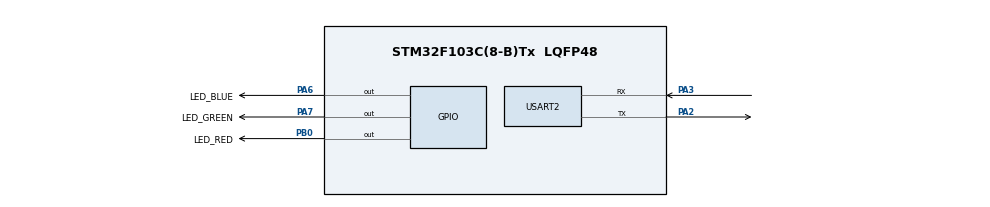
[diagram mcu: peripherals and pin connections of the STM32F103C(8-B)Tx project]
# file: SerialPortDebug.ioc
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Mcu.Family=STM32F1
Mcu.Name=STM32F103C(8-B)Tx
Mcu.Package=LQFP48
NVIC.PriorityGroup=NVIC_PRIORITYGROUP_4
PA13.Mode=Serial_Wire
PA13.Signal=SYS_JTMS-SWDIO
PA14.Mode=Serial_Wire
PA14.Signal=SYS_JTCK-SWCLK
PA2.Mode=Asynchronous
PA2.Signal=USART2_TX
PA3.Mode=Asynchronous
PA3.Signal=USART2_RX
PA6.GPIO_Label=LED_BLUE
PA6.Signal=GPIO_Output
PA7.GPIO_Label=LED_GREEN
PA7.Signal=GPIO_Output
PB0.GPIO_Label=LED_RED
PB0.Signal=GPIO_Output
ProjectManager.HeapSize=0x200
ProjectManager.StackSize=0x400
ProjectManager.TargetToolchain=STM32CubeIDE
RCC.APB1Freq_Value=8000000
RCC.APB2Freq_Value=8000000
USART2.VirtualMode=VM_ASYNC
board=custom

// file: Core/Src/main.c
/* USER CODE BEGIN Header */
/**
  ******************************************************************************
  * @file           : main.c
  * @brief          : Main program body
  ******************************************************************************
  * @attention
  *
  * Copyright (c) 2025 STMicroelectronics.
  * All rights reserved.
  *
  * This software is licensed under terms that can be found in the LICENSE file
  * in the root directory of this software component.
  * If no LICENSE file comes with this software, it is provided AS-IS.
  *
  ******************************************************************************
  */
/* USER CODE END Header */
#include "main.h"

/* USER CODE BEGIN Includes */
#include "string.h"
#include "ctype.h"
/* USER CODE END Includes */

UART_HandleTypeDef huart2;

void SystemClock_Config(void);
static void MX_GPIO_Init(void);
static void MX_USART2_UART_Init(void);

int main(void)
{

  /* MCU Configuration--------------------------------------------------------*/

  /* Reset of all peripherals, Initializes the Flash interface and the Systick. */
  HAL_Init();

  /* Configure the system clock */
  SystemClock_Config();

  /* Initialize all configured peripherals */
  MX_GPIO_Init();
  MX_USART2_UART_Init();
  /* USER CODE BEGIN 2 */
  char message[60] = "Hello World!";
  uint8_t receiveData[2];
  /* USER CODE END 2 */

  /* Infinite loop */
  /* USER CODE BEGIN WHILE */
  while (1)
  {
//	  HAL_GPIO_WritePin(LED_BLUE_GPIO_Port, LED_BLUE_Pin, GPIO_PIN_SET);
	  HAL_UART_Receive(&huart2, receiveData, 2, HAL_MAX_DELAY);
	  GPIO_PinState pinState = GPIO_PIN_SET;
	  if (receiveData[1] == '0')
	  {
		  pinState = GPIO_PIN_RESET;
		  strcpy(message, "STM32 turned off the LED!");
	  }

	  if (toupper(receiveData[0]) == 'R')
	  {
		  HAL_GPIO_WritePin(LED_RED_GPIO_Port, LED_RED_Pin, pinState);
		  if (receiveData[1] == '1')
		  {
			  strcpy(message, "STM32 turned on the RED LED!");
		  }
	  }
	  else if (toupper(receiveData[0]) == 'G')
	  {
		  HAL_GPIO_WritePin(LED_GREEN_GPIO_Port, LED_GREEN_Pin, pinState);
		  if (receiveData[1] == '1')
		  {
			  strcpy(message, "STM32 turned on the GREEN LED!");
		  }
	  }
	  else if (toupper(receiveData[0]) == 'B')
	  {
		  HAL_GPIO_WritePin(LED_BLUE_GPIO_Port, LED_BLUE_Pin, pinState);
		  if (receiveData[1] == '1')
		  {
			  strcpy(message, "STM32 turned on the BLUE LED!");
		  }
	  }
	  HAL_UART_Transmit(&huart2, (const) message, strlen(message), HAL_MAX_DELAY);
//	  HAL_UART_Transmit(&huart2, (uint8_t *)message, strlen(message), HAL_MAX_DELAY);
//	  HAL_Delay(1000);
    /* USER CODE END WHILE */

  }
}

void SystemClock_Config(void)
{
  RCC_OscInitTypeDef RCC_OscInitStruct = {0};
  RCC_ClkInitTypeDef RCC_ClkInitStruct = {0};

  /** Initializes the RCC Oscillators according to the specified parameters
  * in the RCC_OscInitTypeDef structure.
  */
  RCC_OscInitStruct.OscillatorType = RCC_OSCILLATORTYPE_HSI;
  RCC_OscInitStruct.HSIState = RCC_HSI_ON;
  RCC_OscInitStruct.HSICalibrationValue = RCC_HSICALIBRATION_DEFAULT;
  RCC_OscInitStruct.PLL.PLLState = RCC_PLL_NONE;
  if (HAL_RCC_OscConfig(&RCC_OscInitStruct) != HAL_OK)
  {
    Error_Handler();
  }

  /** Initializes the CPU, AHB and APB buses clocks
  */
  RCC_ClkInitStruct.ClockType = RCC_CLOCKTYPE_HCLK|RCC_CLOCKTYPE_SYSCLK
                              |RCC_CLOCKTYPE_PCLK1|RCC_CLOCKTYPE_PCLK2;
  RCC_ClkInitStruct.SYSCLKSource = RCC_SYSCLKSOURCE_HSI;
  RCC_ClkInitStruct.AHBCLKDivider = RCC_SYSCLK_DIV1;
  RCC_ClkInitStruct.APB1CLKDivider = RCC_HCLK_DIV1;
  RCC_ClkInitStruct.APB2CLKDivider = RCC_HCLK_DIV1;

  if (HAL_RCC_ClockConfig(&RCC_ClkInitStruct, FLASH_LATENCY_0) != HAL_OK)
  {
    Error_Handler();
  }
}

static void MX_USART2_UART_Init(void)
{

  huart2.Instance = USART2;
  huart2.Init.BaudRate = 115200;
  huart2.Init.WordLength = UART_WORDLENGTH_8B;
  huart2.Init.StopBits = UART_STOPBITS_1;
  huart2.Init.Parity = UART_PARITY_NONE;
  huart2.Init.Mode = UART_MODE_TX_RX;
  huart2.Init.HwFlowCtl = UART_HWCONTROL_NONE;
  huart2.Init.OverSampling = UART_OVERSAMPLING_16;
  if (HAL_UART_Init(&huart2) != HAL_OK)
  {
    Error_Handler();
  }

}

static void MX_GPIO_Init(void)
{
  GPIO_InitTypeDef GPIO_InitStruct = {0};

  /* GPIO Ports Clock Enable */
  __HAL_RCC_GPIOA_CLK_ENABLE();
  __HAL_RCC_GPIOB_CLK_ENABLE();

  /*Configure GPIO pin Output Level */
  HAL_GPIO_WritePin(GPIOA, LED_BLUE_Pin|LED_GREEN_Pin, GPIO_PIN_RESET);

  /*Configure GPIO pin Output Level */
  HAL_GPIO_WritePin(LED_RED_GPIO_Port, LED_RED_Pin, GPIO_PIN_RESET);

  /*Configure GPIO pins : LED_BLUE_Pin LED_GREEN_Pin */
  GPIO_InitStruct.Pin = LED_BLUE_Pin|LED_GREEN_Pin;
  GPIO_InitStruct.Mode = GPIO_MODE_OUTPUT_PP;
  GPIO_InitStruct.Pull = GPIO_NOPULL;
  GPIO_InitStruct.Speed = GPIO_SPEED_FREQ_LOW;
  HAL_GPIO_Init(GPIOA, &GPIO_InitStruct);

  /*Configure GPIO pin : LED_RED_Pin */
  GPIO_InitStruct.Pin = LED_RED_Pin;
  GPIO_InitStruct.Mode = GPIO_MODE_OUTPUT_PP;
  GPIO_InitStruct.Pull = GPIO_NOPULL;
  GPIO_InitStruct.Speed = GPIO_SPEED_FREQ_LOW;
  HAL_GPIO_Init(LED_RED_GPIO_Port, &GPIO_InitStruct);

}

void Error_Handler(void)
{
  __disable_irq();
  while (1)
  {
  }
}
